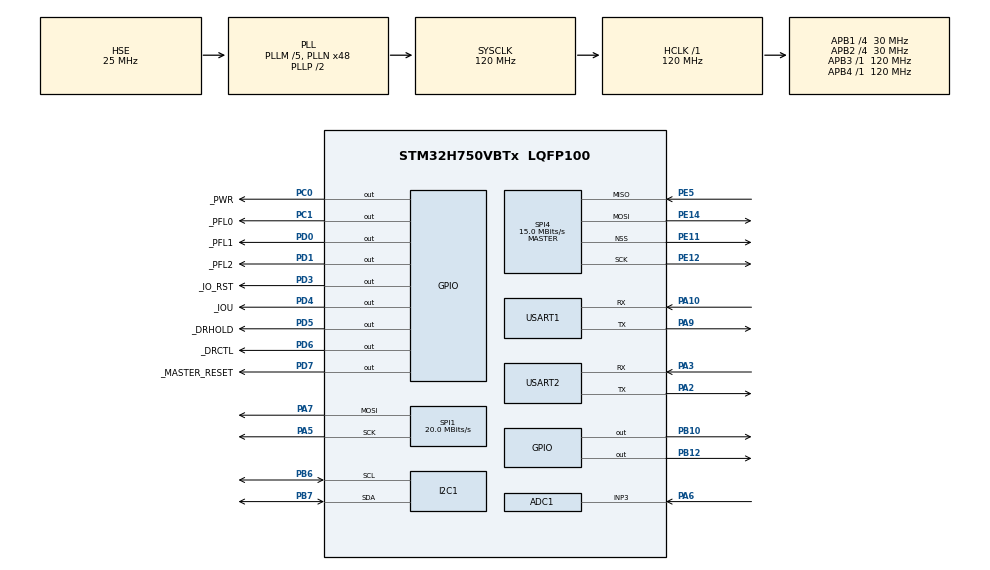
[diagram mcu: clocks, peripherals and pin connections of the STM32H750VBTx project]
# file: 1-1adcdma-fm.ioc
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ADC1.Channel-0\#ChannelRegularConversion=ADC_CHANNEL_3
ADC1.ClockPrescaler=ADC_CLOCK_ASYNC_DIV1
ADC1.ContinuousConvMode=DISABLE
ADC1.ConversionDataManagement=ADC_CONVERSIONDATA_DMA_ONESHOT
ADC1.ExternalTrigConv=ADC_EXTERNALTRIG_T1_TRGO
ADC1.NbrOfConversionFlag=1
ADC1.OffsetNumber-0\#ChannelRegularConversion=ADC_OFFSET_NONE
ADC1.OffsetSignedSaturation-0\#ChannelRegularConversion=DISABLE
ADC1.Rank-0\#ChannelRegularConversion=1
ADC1.SamplingTime-0\#ChannelRegularConversion=ADC_SAMPLETIME_1CYCLE_5
ADC1.master=1
Dma.ADC1.0.Direction=DMA_PERIPH_TO_MEMORY
Dma.ADC1.0.EventEnable=DISABLE
Dma.ADC1.0.FIFOMode=DMA_FIFOMODE_DISABLE
Dma.ADC1.0.Instance=DMA1_Stream0
Dma.ADC1.0.MemDataAlignment=DMA_MDATAALIGN_HALFWORD
Dma.ADC1.0.MemInc=DMA_MINC_ENABLE
Dma.ADC1.0.Mode=DMA_NORMAL
Dma.ADC1.0.PeriphDataAlignment=DMA_PDATAALIGN_HALFWORD
Dma.ADC1.0.PeriphInc=DMA_PINC_DISABLE
Dma.ADC1.0.Polarity=HAL_DMAMUX_REQ_GEN_RISING
Dma.ADC1.0.Priority=DMA_PRIORITY_LOW
Dma.ADC1.0.RequestNumber=1
Dma.ADC1.0.SignalID=NONE
Dma.ADC1.0.SyncEnable=DISABLE
Dma.ADC1.0.SyncPolarity=HAL_DMAMUX_SYNC_NO_EVENT
Dma.ADC1.0.SyncRequestNumber=1
Dma.ADC1.0.SyncSignalID=NONE
Dma.Request0=ADC1
I2C1.Timing=0x007074AF
Mcu.Family=STM32H7
Mcu.Name=STM32H750VBTx
Mcu.Package=LQFP100
NVIC.DMA1_Stream0_IRQn=true\:0\:0\:false\:false\:true\:false\:true\:true
NVIC.PriorityGroup=NVIC_PRIORITYGROUP_4
PA10.Mode=Asynchronous
PA10.Signal=USART1_RX
PA2.Mode=Asynchronous
PA2.Signal=USART2_TX
PA3.Mode=Asynchronous
PA3.Signal=USART2_RX
PA5.GPIO_Speed=GPIO_SPEED_FREQ_LOW
PA5.Mode=TX_Only_Simplex_Unidirect_Master
PA5.Signal=SPI1_SCK
PA6.Signal=ADCx_INP3
PA7.GPIO_Speed=GPIO_SPEED_FREQ_LOW
PA7.Mode=TX_Only_Simplex_Unidirect_Master
PA7.Signal=SPI1_MOSI
PA9.Mode=Asynchronous
PA9.Signal=USART1_TX
PB10.GPIO_ModeDefaultOutputPP=GPIO_MODE_OUTPUT_OD
PB10.GPIO_PuPd=GPIO_PULLUP
PB10.Signal=GPIO_Output
PB12.GPIO_ModeDefaultOutputPP=GPIO_MODE_OUTPUT_OD
PB12.GPIO_PuPd=GPIO_PULLUP
PB12.Signal=GPIO_Output
PB6.GPIO_Pu=GPIO_PULLUP
PB6.Mode=I2C
PB6.Signal=I2C1_SCL
PB7.GPIO_Pu=GPIO_PULLUP
PB7.Mode=I2C
PB7.Signal=I2C1_SDA
PC0.GPIO_Label=_PWR
PC0.GPIO_Speed=GPIO_SPEED_FREQ_LOW
PC0.Signal=GPIO_Output
PC1.GPIO_Label=_PFL0
PC1.GPIO_Speed=GPIO_SPEED_FREQ_LOW
PC1.Signal=GPIO_Output
PD0.GPIO_Label=_PFL1
PD0.GPIO_Speed=GPIO_SPEED_FREQ_LOW
PD0.Signal=GPIO_Output
PD1.GPIO_Label=_PFL2
PD1.GPIO_Speed=GPIO_SPEED_FREQ_LOW
PD1.Signal=GPIO_Output
PD3.GPIO_Label=_IO_RST
PD3.GPIO_Speed=GPIO_SPEED_FREQ_LOW
PD3.Signal=GPIO_Output
PD4.GPIO_Label=_IOU
PD4.GPIO_Speed=GPIO_SPEED_FREQ_LOW
PD4.Signal=GPIO_Output
PD5.GPIO_Label=_DRHOLD
PD5.Signal=GPIO_Output
PD6.GPIO_Label=_DRCTL
PD6.Signal=GPIO_Output
PD7.GPIO_Label=_MASTER_RESET
PD7.Signal=GPIO_Output
PE11.Mode=NSS_Signal_Hard_Output
PE11.Signal=SPI4_NSS
PE12.Mode=Full_Duplex_Master
PE12.Signal=SPI4_SCK
PE14.Mode=Full_Duplex_Master
PE14.Signal=SPI4_MOSI
PE5.Mode=Full_Duplex_Master
PE5.Signal=SPI4_MISO
PH0-OSC_IN\ (PH0).Mode=HSE-External-Oscillator
PH0-OSC_IN\ (PH0).Signal=RCC_OSC_IN
PH1-OSC_OUT\ (PH1).Mode=HSE-External-Oscillator
PH1-OSC_OUT\ (PH1).Signal=RCC_OSC_OUT
ProjectManager.HeapSize=0x200
ProjectManager.StackSize=0x400
ProjectManager.TargetToolchain=Makefile
RCC.ADCFreq_Value=37500000
RCC.APB1Freq_Value=30000000
RCC.APB2Freq_Value=30000000
RCC.APB3Freq_Value=120000000
RCC.APB4Freq_Value=120000000
RCC.CortexFreq_Value=120000000
RCC.D2PPRE1=RCC_APB1_DIV4
RCC.D2PPRE2=RCC_APB2_DIV4
RCC.DIVM1=5
RCC.DIVM2=2
RCC.DIVN1=48
RCC.DIVN2=12
RCC.DIVP2=4
RCC.DIVQ1=3
RCC.HCLKFreq_Value=120000000
RCC.PLL2FRACN=0
RCC.PLL3FRACN=0
RCC.PLLFRACN=0
RCC.PLLSourceVirtual=RCC_PLLSOURCE_HSE
RCC.SYSCLKFreq_VALUE=120000000
RCC.SYSCLKSource=RCC_SYSCLKSOURCE_PLLCLK
RCC.USBFreq_Value=80000000
SH.ADCx_INP3.0=ADC1_INP3,IN3-Single-Ended
SPI1.BaudRatePrescaler=SPI_BAUDRATEPRESCALER_4
SPI1.CLKPhase=SPI_PHASE_2EDGE
SPI1.CLKPolarity=SPI_POLARITY_HIGH
SPI1.CalculateBaudRate=20.0 MBits/s
SPI1.DataSize=SPI_DATASIZE_32BIT
SPI1.Direction=SPI_DIRECTION_2LINES_TXONLY
SPI1.Mode=SPI_MODE_MASTER
SPI1.NSSPMode=SPI_NSS_PULSE_DISABLE
SPI1.VirtualType=VM_MASTER
SPI4.CalculateBaudRate=15.0 MBits/s
SPI4.DataSize=SPI_DATASIZE_8BIT
SPI4.Direction=SPI_DIRECTION_2LINES
SPI4.FifoThreshold=SPI_FIFO_THRESHOLD_02DATA
SPI4.Mode=SPI_MODE_MASTER
SPI4.VirtualNSS=VM_NSSHARD
SPI4.VirtualType=VM_MASTER
TIM1.AutoReloadPreload=TIM_AUTORELOAD_PRELOAD_ENABLE
TIM1.Period=3000-1
TIM1.Prescaler=2-1
TIM1.TIM_MasterOutputTrigger=TIM_TRGO_UPDATE
USART1.VirtualMode-Asynchronous=VM_ASYNC
USART2.VirtualMode-Asynchronous=VM_ASYNC
VP_TIM1_VS_ClockSourceINT.Mode=Internal
board=custom

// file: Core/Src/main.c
/* USER CODE BEGIN Header */
/**
  ******************************************************************************
  * @file           : main.c
  * @brief          : Main program body
  ******************************************************************************
  * @attention
  *
  * Copyright (c) 2024 STMicroelectronics.
  * All rights reserved.
  *
  * This software is licensed under terms that can be found in the LICENSE file
  * in the root directory of this software component.
  * If no LICENSE file comes with this software, it is provided AS-IS.
  *
  ******************************************************************************
  */
/* USER CODE END Header */
#include "main.h"
#include "adc.h"
#include "dma.h"
#include "i2c.h"
#include "spi.h"
#include "tim.h"
#include "usart.h"
#include "gpio.h"

/* USER CODE BEGIN Includes */
#include <arm_math.h>
#include <lcd_spi_169.h>
#include <my_rda5820.h>
#include <ad9910.h>
#include <stdint.h>

/* USER CODE END Includes */

/* USER CODE BEGIN PTD */
#define __ATTR_RAM_D2	__attribute__ ((section(".RAM_D2"))) __attribute__ ((aligned (4)))

#define ADC_LENGTH 1024
/* USER CODE END PTD */

void SystemClock_Config(void);

/* USER CODE BEGIN 0 */
uint16_t adc_dma_flag = 0;

__ATTR_RAM_D2 uint16_t adc_value[ADC_LENGTH]={0};
float32_t input_test[ADC_LENGTH]={0};
float32_t output_test[ADC_LENGTH]={0};

/* USER CODE END 0 */

int main(void)
{

  /* MCU Configuration--------------------------------------------------------*/

  /* Reset of all peripherals, Initializes the Flash interface and the Systick. */
  HAL_Init();

  /* Configure the system clock */
  SystemClock_Config();

  /* Initialize all configured peripherals */
  MX_GPIO_Init();
  MX_DMA_Init();
  MX_ADC1_Init();
  MX_USART2_UART_Init();
  MX_USART1_UART_Init();
  MX_TIM1_Init();
  MX_I2C1_Init();
  MX_SPI1_Init();
  MX_SPI4_Init();
  /* USER CODE BEGIN 2 */
  SPI_LCD_Init();
  AD9910_init();
  uint16_t i;
  HAL_TIM_Base_Start(&htim1);
  HAL_ADC_Start_DMA(&hadc1,(uint32_t *)adc_value,ADC_LENGTH);
  HAL_ADCEx_Calibration_Start(&hadc1,ADC_CALIB_OFFSET_LINEARITY, ADC_SINGLE_ENDED);
  HAL_Delay(1000);
  HAL_TIM_Base_Stop(&htim1);
  HAL_ADC_Stop_DMA(&hadc1);

  for(i=0; i<1024; i++){
          input_test[i] = (float32_t)adc_value[i] / 65536 * 3.3;
    }
  arm_rfft_fast_instance_f32 S;

  arm_rfft_fast_init_f32(&S, ADC_LENGTH);
  arm_rfft_fast_f32(&S, (float32_t *)adc_value, input_test, 0);
  arm_cmplx_mag_f32(input_test, output_test, ADC_LENGTH);
  output_test[0] /= 1024;
    for(i=1;i<1024;i++){
      output_test[i] /=512;
    }
  //memset(output_test,0,sizeof(output_test));
  /* USER CODE END 2 */

  /* Infinite loop */
  while (1)
  {

    /* USER CODE BEGIN 3 */

    SineWave(500,0,10000);
    // arm_cfft_f32(&arm_cfft_sR_f32_len1024, input_test, 0, 1);
    LCD_DisplayNumber(10, 10, output_test[0], 6);

    // arm_cmplx_mag_f32(input_test,output_test,1024);

    //printf("hhh\n");
  }
  /* USER CODE END 3 */
}

void SystemClock_Config(void)
{
  RCC_OscInitTypeDef RCC_OscInitStruct = {0};
  RCC_ClkInitTypeDef RCC_ClkInitStruct = {0};

  /** Supply configuration update enable
  */
  HAL_PWREx_ConfigSupply(PWR_LDO_SUPPLY);

  /** Configure the main internal regulator output voltage
  */
  __HAL_PWR_VOLTAGESCALING_CONFIG(PWR_REGULATOR_VOLTAGE_SCALE3);

  while(!__HAL_PWR_GET_FLAG(PWR_FLAG_VOSRDY)) {}

  /** Initializes the RCC Oscillators according to the specified parameters
  * in the RCC_OscInitTypeDef structure.
  */
  RCC_OscInitStruct.OscillatorType = RCC_OSCILLATORTYPE_HSE;
  RCC_OscInitStruct.HSEState = RCC_HSE_ON;
  RCC_OscInitStruct.PLL.PLLState = RCC_PLL_ON;
  RCC_OscInitStruct.PLL.PLLSource = RCC_PLLSOURCE_HSE;
  RCC_OscInitStruct.PLL.PLLM = 5;
  RCC_OscInitStruct.PLL.PLLN = 48;
  RCC_OscInitStruct.PLL.PLLP = 2;
  RCC_OscInitStruct.PLL.PLLQ = 3;
  RCC_OscInitStruct.PLL.PLLR = 2;
  RCC_OscInitStruct.PLL.PLLRGE = RCC_PLL1VCIRANGE_2;
  RCC_OscInitStruct.PLL.PLLVCOSEL = RCC_PLL1VCOWIDE;
  RCC_OscInitStruct.PLL.PLLFRACN = 0;
  if (HAL_RCC_OscConfig(&RCC_OscInitStruct) != HAL_OK)
  {
    Error_Handler();
  }

  /** Initializes the CPU, AHB and APB buses clocks
  */
  RCC_ClkInitStruct.ClockType = RCC_CLOCKTYPE_HCLK|RCC_CLOCKTYPE_SYSCLK
                              |RCC_CLOCKTYPE_PCLK1|RCC_CLOCKTYPE_PCLK2
                              |RCC_CLOCKTYPE_D3PCLK1|RCC_CLOCKTYPE_D1PCLK1;
  RCC_ClkInitStruct.SYSCLKSource = RCC_SYSCLKSOURCE_PLLCLK;
  RCC_ClkInitStruct.SYSCLKDivider = RCC_SYSCLK_DIV1;
  RCC_ClkInitStruct.AHBCLKDivider = RCC_HCLK_DIV1;
  RCC_ClkInitStruct.APB3CLKDivider = RCC_APB3_DIV1;
  RCC_ClkInitStruct.APB1CLKDivider = RCC_APB1_DIV4;
  RCC_ClkInitStruct.APB2CLKDivider = RCC_APB2_DIV4;
  RCC_ClkInitStruct.APB4CLKDivider = RCC_APB4_DIV1;

  if (HAL_RCC_ClockConfig(&RCC_ClkInitStruct, FLASH_LATENCY_2) != HAL_OK)
  {
    Error_Handler();
  }
}

void Error_Handler(void)
{
  __disable_irq();
  while (1)
  {
  }
}
